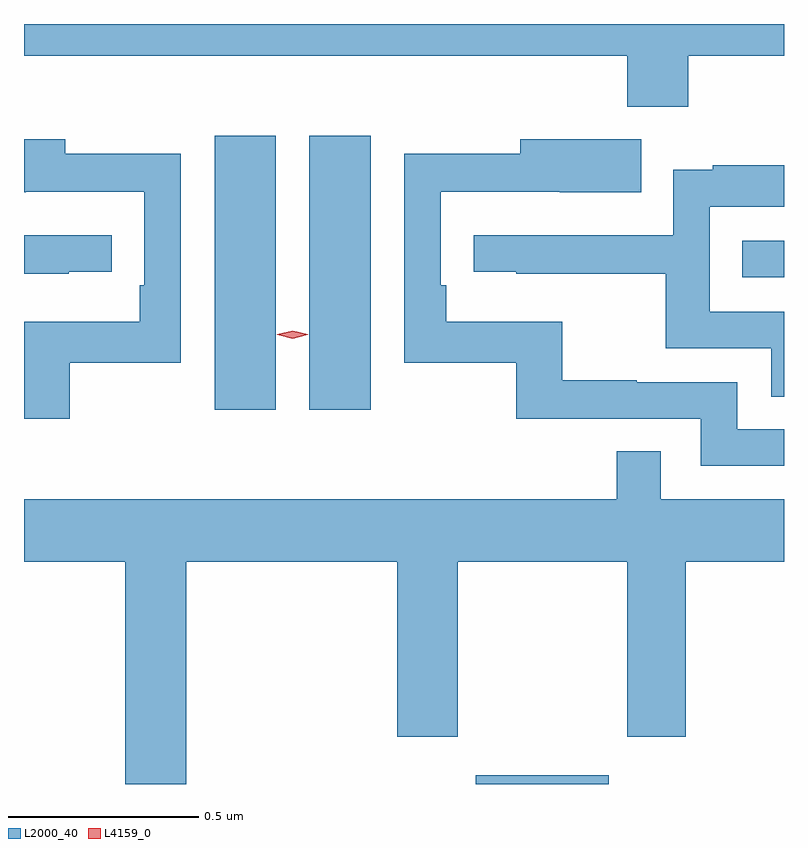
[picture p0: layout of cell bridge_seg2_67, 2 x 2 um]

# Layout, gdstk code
import gdstk
lib = gdstk.Library(unit=1e-6, precision=1e-09)
def R(c, l, rs):  # rectangles x0, y0, x1, y1
    for r in rs: c.add(gdstk.rectangle(r[:2], r[2:], *l))
def P(c, l, *ps):  # polygons
    for p in ps: c.add(gdstk.Polygon(p, *l))
L2000_40 = (2000, 40)
L4159_0 = (4159, 0)

bridge_seg2_67 = lib.new_cell('bridge_seg2_67')
R(bridge_seg2_67, L2000_40, [(1135.046,591.107,1135.396,591.13), (1134.359,592.092,1134.52,592.813), (1134.608,592.092,1134.769,592.813), (1135.747,592.44,1135.857,592.536)])
P(bridge_seg2_67, L2000_40, [(1135.605,593.024),(1135.857,593.024),(1135.857,593.107),(1133.857,593.107),(1133.857,593.024),(1135.445,593.024),(1135.445,592.889),(1135.605,592.889)],
  [(1133.977,592.215),(1134.27,592.215),(1134.27,592.766),(1133.965,592.766),(1133.965,592.804),(1133.857,592.804),(1133.857,592.664),(1133.861,592.664),(1133.861,592.665),(1134.174,592.665),(1134.174,592.42),(1134.161,592.42),(1134.161,592.324),(1133.857,592.324),(1133.857,592.068),(1133.977,592.068)],
  [(1135.857,592.041),(1135.734,592.041),(1135.734,592.164),(1135.469,592.164),(1135.469,592.169),(1135.273,592.169),(1135.273,592.324),(1134.968,592.324),(1134.968,592.42),(1134.954,592.42),(1134.954,592.665),(1135.267,592.665),(1135.267,592.664),(1135.481,592.664),(1135.481,592.804),(1135.163,592.804),(1135.163,592.766),(1134.858,592.766),(1134.858,592.215),(1135.152,592.215),(1135.152,592.068),(1135.638,592.068),(1135.638,591.945),(1135.857,591.945)],
  [(1135.857,592.35),(1135.662,592.35),(1135.662,592.626),(1135.857,592.626),(1135.857,592.735),(1135.669,592.735),(1135.669,592.723),(1135.566,592.723),(1135.566,592.551),(1135.041,592.551),(1135.041,592.455),(1135.153,592.455),(1135.153,592.45),(1135.546,592.45),(1135.546,592.254),(1135.823,592.254),(1135.823,592.126),(1135.857,592.126)],
  [(1133.975,592.455),(1134.088,592.455),(1134.088,592.551),(1133.857,592.551),(1133.857,592.45),(1133.975,592.45)],
  [(1134.284,591.692),(1134.839,591.692),(1134.839,591.231),(1134.999,591.231),(1134.999,591.692),(1135.444,591.692),(1135.444,591.231),(1135.599,591.231),(1135.599,591.692),(1135.857,591.692),(1135.857,591.856),(1135.533,591.856),(1135.533,591.983),(1135.417,591.983),(1135.417,591.856),(1133.857,591.856),(1133.857,591.692),(1134.124,591.692),(1134.124,591.107),(1134.284,591.107)])
P(bridge_seg2_67, L4159_0, [(1134.564,592.279),(1134.524,592.289),(1134.524,592.289),(1134.524,592.29),(1134.564,592.3),(1134.604,592.29),(1134.604,592.289),(1134.604,592.289)])

lib.write_gds('bridge_seg2_67.gds')
